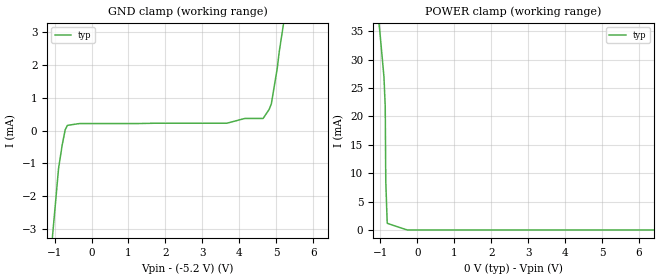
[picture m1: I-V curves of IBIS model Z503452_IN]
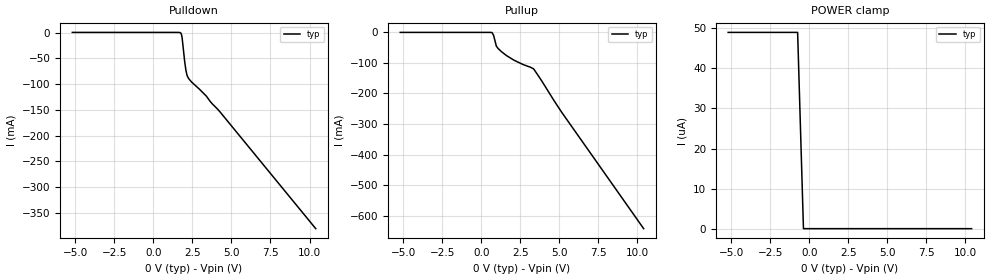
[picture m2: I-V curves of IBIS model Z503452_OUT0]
| YOU ARE ONLY AUTHORIZED TO USE THIS SOFTWARE
| ACCORDING TO LICENSOR'S LICENSE RESTRICTIONS.
[IBIS Ver] 3.1
[File Name] mc10h330p.ibs
[File Rev] 0.1
[Source] derived from mc10h209p.ibs Measured and created
|   by ICX Technology
[Date] 2/12/2002
[Copyright]
| (C) COPYRIGHT 1993-2000
| MENTOR GRAPHICS CORPORATION
| ICX STANDARD LIBRARY, ICX PROJECT MODELING,
| ICX CUSTOM MODELING, ICX VENDOR MODEL
| ALL RIGHTS RESERVED.
| THE FOLLOWING ARE TRADEMARKS OR SERVICE MARKS OF
| MENTOR GRAPHICS CORPORATION:ICX (R), ICX STANDARD
| LIBRARY(R), ICX PROJECT MODELING(R), ICX CUSTOM
| MODELING(R), qualityIBIS(TM), MODELVIEWER(TM),
| AND MODELEDITOR(TM)
| ALL COPIES OF SOFTWARE, INCLUDING BUT NOT LIMITED TO
| ANY MODIFICATIONS, ENHANCEMENTS OR DERIVATIVE WORKS,
| MUST CONTAIN ALL MENTOR GRAPHICS CORPORATION'S
| NOTICES AND LEGENDS, INCLUDING THOSE EMBEDDED IN
| SOFTWARE AND THOSE AFFIXED TO SOFTWARE MEDIUM
| AND CONTAINER, AS RECEIVED FROM MENTOR GRAPHICS
| CORPORATION.
|  ZAP Model Builder 2.7
[Component] MC10H330P
[Manufacturer] OnSemiconductor
[Package]
| variable   typ   min   max
R_pkg  .212ohms NA NA
L_pkg  4.758nH NA NA
C_pkg  1.143pF NA NA
[Pin] signal_name  model_name  R_pin  L_pin C_pin
1  VCC POWER .224 7.258n 1.578p
2  XBUS Z503452_OUT0 .216 5.258n 1.288p
3  WBUS Z503452_OUT0 .216 5.258n 1.288p
4  VCC0 POWER .224 7.258n 1.578p
5  X1 Z503452_IN .2 2.758n .708p
6  X0 Z503452_IN .2 2.758n .708p
7  W1 Z503452_IN .2 2.758n .708p
8  W0 Z503452_IN .2 2.758n .708p
9  S  Z503452_IN .2 2.758n .708p
10 WIN Z503452_IN .2 2.758n .708p
11 XIN Z503452_IN .2 2.758n .708p
12 VEE POWER .224 7.258n 1.578p
13 VCC0 POWER .224 7.258n 1.578p
14 YIN Z503452_IN .2 2.758n .708p
15 ZIN Z503452_IN .2 2.758n .708p
16 _RE Z503452_IN .2 2.758n .708p
17 Z1 Z503452_IN .2 2.758n .708p
18 Z0 Z503452_IN .2 2.758n .708p
19 Y1 Z503452_IN .2 2.758n .708p
20 Y0 Z503452_IN .2 2.758n .708p
21 _OE Z503452_IN .2 2.758n .708p
22 ZBUS Z503452_OUT0 .216 5.258n 1.288p
23 YBUS Z503452_OUT0 .216 5.258n 1.288p
24 VCC0 POWER .224 7.258n 1.578p
| Models and submodels in the file (2): Z503452_IN (Input_ECL), Z503452_OUT0 (Output_ECL)
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| (C) COPYRIGHT 1993-2000
| MENTOR GRAPHICS CORPORATION
| ICX STANDARD LIBRARY, ICX PROJECT MODELING,
| ICX CUSTOM MODELING, ICX VENDOR MODEL
| ALL RIGHTS RESERVED.
| THE FOLLOWING ARE TRADEMARKS OR SERVICE MARKS OF
| MENTOR GRAPHICS CORPORATION:ICX (R), ICX STANDARD
| LIBRARY(R), ICX PROJECT MODELING(R), ICX CUSTOM
| MODELING(R), qualityIBIS(TM), MODELVIEWER(TM),
| AND MODELEDITOR(TM)
| ALL COPIES OF SOFTWARE, INCLUDING BUT NOT LIMITED TO
| ANY MODIFICATIONS, ENHANCEMENTS OR DERIVATIVE WORKS,
| MUST CONTAIN ALL MENTOR GRAPHICS CORPORATION'S
| NOTICES AND LEGENDS, INCLUDING THOSE EMBEDDED IN
| SOFTWARE AND THOSE AFFIXED TO SOFTWARE MEDIUM
| AND CONTAINER, AS RECEIVED FROM MENTOR GRAPHICS
| CORPORATION.
| Model Application Version 1.89 2/18/99.
[Model] Z503452_IN
Model_type Input_ECL
Vinl = -1.480V
Vinh = -1.130V
C_comp .5pF NA NA
| variable typ   min   max
[Voltage Range] -5.200V NA NA
[GND Clamp Reference] -5.200V NA NA
[POWER Clamp Reference] 0.000V NA NA
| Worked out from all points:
|   GND clamp passes 1 mA (typ) near -0.87 V on its own axis
[GND Clamp]
-5.2V     -255.4mA   NA         NA
-1.109V   -3.888mA   NA         NA
-892mV    -1.15mA    NA         NA
-796mV    -452.7uA   NA         NA
-713mV    21.16uA    NA         NA
-654mV    156.5uA    NA         NA
3.661V    222.2uA    NA         NA
4.645V    367.9uA    NA         NA
4.868V    812.6uA    NA         NA
5.028V    1.895mA    NA         NA
5.084V    2.42mA     NA         NA
10.4V     41.35mA    NA         NA
[POWER Clamp]
-5.2V     635.3mA    NA         NA
-1.82V    78.72mA    NA         NA
-1.733V   70.35mA    NA         NA
-1.201V   45.87mA    NA         NA
-1.016V   35.04mA    NA         NA
-903.4mV  26.96mA    NA         NA
-869.1mV  21.72mA    NA         NA
-854.5mV  8.573mA    NA         NA
-815.4mV  1.179mA    NA         NA
-542mV    570.5uA    NA         NA
-271mV    0A         NA         NA
10.4V     0A         NA         NA
| (C) COPYRIGHT 1993-2000
| MENTOR GRAPHICS CORPORATION
| ICX STANDARD LIBRARY, ICX PROJECT MODELING,
| ICX CUSTOM MODELING, ICX VENDOR MODEL
| ALL RIGHTS RESERVED.
| THE FOLLOWING ARE TRADEMARKS OR SERVICE MARKS OF
| MENTOR GRAPHICS CORPORATION:ICX (R), ICX STANDARD
| LIBRARY(R), ICX PROJECT MODELING(R), ICX CUSTOM
| MODELING(R), qualityIBIS(TM), MODELVIEWER(TM),
| AND MODELEDITOR(TM)
| ALL COPIES OF SOFTWARE, INCLUDING BUT NOT LIMITED TO
| ANY MODIFICATIONS, ENHANCEMENTS OR DERIVATIVE WORKS,
| MUST CONTAIN ALL MENTOR GRAPHICS CORPORATION'S
| NOTICES AND LEGENDS, INCLUDING THOSE EMBEDDED IN
| SOFTWARE AND THOSE AFFIXED TO SOFTWARE MEDIUM
| AND CONTAINER, AS RECEIVED FROM MENTOR GRAPHICS
| CORPORATION.
| Model Application Version 1.89 2/18/99.
[Model] Z503452_OUT0
Model_type Output_ECL
Vref=-2.000V
Rref=50.00ohms
Cref=0.000F
Vmeas=-1.305V
C_comp .5pF NA NA
| variable typ   min   max
[Voltage Range] -5.200V NA NA
[POWER Clamp Reference] 0.000V NA NA
[Pullup Reference] 0.000V NA NA
[Pulldown Reference] 0.000V NA NA
[GND Clamp Reference] -5.200V NA NA
[GND Clamp]
-5.2V     0A         NA         NA
10.4V     0A         NA         NA
[Pulldown]
-5.2V     225.1uA    NA         NA
1.743V    -835uA     NA         NA
1.787V    -2.874mA   NA         NA
1.836V    -10mA      NA         NA
2.002V    -56.69mA   NA         NA
2.082V    -73.77mA   NA         NA
2.154V    -83.43mA   NA         NA
2.246V    -88.97mA   NA         NA
3.389V    -123.4mA   NA         NA
3.652V    -134.4mA   NA         NA
4.272V    -154.3mA   NA         NA
10.4V     -380.6mA   NA         NA
[Pullup]
-5.2V     167.3uA    NA         NA
687mV     -723.5uA   NA         NA
780.3mV   -9.181mA   NA         NA
959.4mV   -44.82mA   NA         NA
1.277V    -62.6mA    NA         NA
2.084V    -90.77mA   NA         NA
3.37V     -120.8mA   NA         NA
5.151V    -261.8mA   NA         NA
10.4V     -642.8mA   NA         NA
[POWER Clamp]
-5.2V     49uA       NA         NA
-748mV    49uA       NA         NA
-374mV    0A         NA         NA
10.4V     0A         NA         NA
[Ramp]
| variable typ min max
dV/dt_r 567.4m/869.1p NA NA
dV/dt_f 567.4m/525.8p NA NA
R_load = 50.00Ohms
